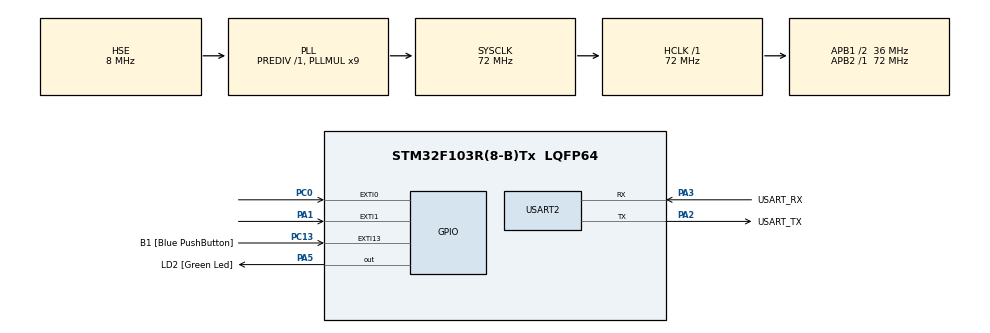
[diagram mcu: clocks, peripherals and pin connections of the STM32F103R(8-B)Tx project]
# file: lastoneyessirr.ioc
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Mcu.Family=STM32F1
Mcu.Name=STM32F103R(8-B)Tx
Mcu.Package=LQFP64
NVIC.EXTI0_IRQn=true\:0\:0\:false\:false\:true\:true\:true\:true
NVIC.EXTI15_10_IRQn=true\:0\:0\:false\:false\:true\:true\:true\:true
NVIC.EXTI1_IRQn=true\:0\:0\:false\:false\:true\:true\:true\:true
NVIC.PriorityGroup=NVIC_PRIORITYGROUP_4
PA1.Signal=GPXTI1
PA13.GPIO_Label=TMS
PA13.Mode=Serial_Wire
PA13.Signal=SYS_JTMS-SWDIO
PA14.GPIO_Label=TCK
PA14.Mode=Serial_Wire
PA14.Signal=SYS_JTCK-SWCLK
PA2.GPIO_Label=USART_TX
PA2.GPIO_Mode=GPIO_MODE_AF_PP
PA2.GPIO_PuPd=GPIO_NOPULL
PA2.GPIO_Speed=GPIO_SPEED_FREQ_LOW
PA2.Mode=Asynchronous
PA2.Signal=USART2_TX
PA3.GPIO_Label=USART_RX
PA3.GPIO_Mode=GPIO_MODE_AF_PP
PA3.GPIO_PuPd=GPIO_NOPULL
PA3.GPIO_Speed=GPIO_SPEED_FREQ_LOW
PA3.Mode=Asynchronous
PA3.Signal=USART2_RX
PA5.GPIO_Label=LD2 [Green Led]
PA5.GPIO_ModeDefaultOutputPP=GPIO_MODE_OUTPUT_PP
PA5.GPIO_PuPd=GPIO_NOPULL
PA5.GPIO_Speed=GPIO_SPEED_FREQ_LOW
PA5.Signal=GPIO_Output
PB3.GPIO_Label=SWO
PB3.Signal=SYS_JTDO-TRACESWO
PC0.Signal=GPXTI0
PC13-TAMPER-RTC.GPIO_Label=B1 [Blue PushButton]
PC13-TAMPER-RTC.GPIO_PuPd=GPIO_NOPULL
PC13-TAMPER-RTC.Signal=GPXTI13
PC14-OSC32_IN.Mode=LSE-External-Oscillator
PC14-OSC32_IN.Signal=RCC_OSC32_IN
PC15-OSC32_OUT.Mode=LSE-External-Oscillator
PC15-OSC32_OUT.Signal=RCC_OSC32_OUT
PD0-OSC_IN.Mode=HSE-External-Oscillator
PD0-OSC_IN.Signal=RCC_OSC_IN
PD1-OSC_OUT.Mode=HSE-External-Oscillator
PD1-OSC_OUT.Signal=RCC_OSC_OUT
ProjectManager.HeapSize=0x200
ProjectManager.StackSize=0x400
ProjectManager.TargetToolchain=STM32CubeIDE
RCC.AHBFreq_Value=72000000
RCC.APB1CLKDivider=RCC_HCLK_DIV2
RCC.APB1Freq_Value=36000000
RCC.APB1TimFreq_Value=72000000
RCC.APB2Freq_Value=72000000
RCC.APB2TimFreq_Value=72000000
RCC.HCLKFreq_Value=72000000
RCC.PLLMUL=RCC_PLL_MUL9
RCC.PLLSourceVirtual=RCC_PLLSOURCE_HSE
RCC.RTCClockSelection=RCC_RTCCLKSOURCE_LSE
RCC.SYSCLKFreq_VALUE=72000000
RCC.SYSCLKSource=RCC_SYSCLKSOURCE_PLLCLK
RCC.USBFreq_Value=72000000
TIM3.Prescaler=7200
TIM4.Prescaler=7200
USART2.VirtualMode=VM_ASYNC
VP_TIM3_VS_ClockSourceINT.Mode=Internal
VP_TIM4_VS_ClockSourceINT.Mode=Internal
board=NUCLEO-F103RB

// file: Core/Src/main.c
/* USER CODE BEGIN Header */
/**
  ******************************************************************************
  * @file           : main.c
  * @brief          : Main program body
  ******************************************************************************
  * @attention
  *
  * Copyright (c) 2025 STMicroelectronics.
  * All rights reserved.
  *
  * This software is licensed under terms that can be found in the LICENSE file
  * in the root directory of this software component.
  * If no LICENSE file comes with this software, it is provided AS-IS.
  *
  ******************************************************************************
  */
/* USER CODE END Header */
#include "main.h"

/* USER CODE BEGIN Includes */
#include <stdlib.h>
#include <stdio.h>
#include <string.h>
#include <math.h>
#include "lcd.h"
/* USER CODE END Includes */

TIM_HandleTypeDef htim3;
TIM_HandleTypeDef htim4;

UART_HandleTypeDef huart2;

/* USER CODE BEGIN PV */
volatile uint8_t flag1=0;
volatile uint8_t flag2=0;
volatile uint16_t count1=0;
volatile uint16_t count2=0;
volatile uint8_t ButtonPressed1 = 0;
volatile uint8_t ButtonPressed2 = 0;
volatile uint16_t timp1 = 0;
volatile uint16_t timp2 = 0;

uint8_t custom_char2[] = { 0x1F, 0x1F, 0x1F, 0x1F, 0x1F, 0x1F, 0x1F, 0x1F }; // caracter 2

/* USER CODE END PV */

void SystemClock_Config(void);
static void MX_GPIO_Init(void);
static void MX_USART2_UART_Init(void);
static void MX_TIM3_Init(void);
static void MX_TIM4_Init(void);
/* USER CODE BEGIN PFP */
void SendToSerial(char* message);
/* USER CODE END PFP */

int main(void)
{

  /* USER CODE BEGIN 1 */
	char s[30];
	uint8_t p1r, p2r;
	float scor1;
	float scor2;
  /* USER CODE END 1 */

  /* MCU Configuration--------------------------------------------------------*/

  /* Reset of all peripherals, Initializes the Flash interface and the Systick. */
  HAL_Init();

  /* Configure the system clock */
  SystemClock_Config();

  /* Initialize all configured peripherals */
  MX_GPIO_Init();
  MX_USART2_UART_Init();
  MX_TIM3_Init();
  MX_TIM4_Init();
  HAL_TIM_Base_Start(&htim3);
  HAL_TIM_Base_Start(&htim4);
  /* USER CODE BEGIN 2 */
  LCD16X2_Init(LCD16X2_DISPLAY_ON_CURSOR_OFF_BLINK_OFF);
  LCD16X2_GotoXY(0, 0);
  LCD16X2_CreateCustomChar(0, custom_char2);
  /* USER CODE END 2 */

  /* Infinite loop */
  /* USER CODE BEGIN WHILE */
  while (1)
  {
	  if(flag1==0 && flag2==0)
	  	{
	  			ButtonPressed1=0;
	  			ButtonPressed2=0;
	  				//Alegere timp random player 1
	  			p1r=rand()%5;
	  			while(p1r==0)
	  			{
	  				p1r=rand()%5; //

	  			}
	  				//Alegere timp random player 2
	  			p2r=rand()%5;
	  			while(p2r==0)
	  			{
	  				p2r=rand()%5;
	  			}

	  			while(flag1==0 && flag2==0)
	  			{
	  						//partitionare ecran in doua
	  					LCD16X2_GotoXY(0, 0);
	  					LCD16X2_PutCustomChar(7, 0, 0);
	  					LCD16X2_PutCustomChar(8, 0, 0);
	  					LCD16X2_PutCustomChar(7, 1, 0);
	  					LCD16X2_PutCustomChar(8, 1, 0);

	  					  //Scriere nume jucatori.
	  					LCD16X2_GotoXY(0, 0);
	  					LCD16X2_Puts("Player1");
	  					  //Afisare timp intre cele doua apasari
	  					LCD16X2_GotoXY(3, 1);
	  					sprintf(s, "%ds",p1r);
	  					LCD16X2_Puts(s);

	  					LCD16X2_GotoXY(9, 0);
	  					LCD16X2_Puts("Player2");

	  					LCD16X2_GotoXY(12, 1);
	  					sprintf(s, "%ds",p2r);
	  					LCD16X2_Puts(s);

	  					HAL_Delay(1000);
	  			}
	  	}

	  		if(flag1==1 && flag2==1)
	  		{
	  			LCD16X2_ClrScr();
	  			scor1=fabs(p1r-(float)timp1/10000);
	  			scor2=fabs(p2r-(float)timp2/10000);

	  			sprintf(s, "%.2fs  S1=%.2f\n",(float)timp1/10000,scor1);
	  			LCD16X2_GotoXY(0, 0);
	  			LCD16X2_Puts(s);

	  			sprintf(s, "%.2fs  S2=%.2f\n",(float)timp2/10000,scor2);
	  			LCD16X2_GotoXY(0, 1);
	  			LCD16X2_Puts(s);

	  			HAL_Delay(3000);

	  			if(scor1>scor2)
	  			{
	  				LCD16X2_ClrScr();
	  				LCD16X2_GotoXY(0, 0);
	  				LCD16X2_Puts("Player2 a ");
	  				LCD16X2_GotoXY(0, 1);
	  				LCD16X2_Puts("castigat!!");
	  				HAL_Delay(5000);
	  			}
	  			else
	  			{
	  				LCD16X2_ClrScr();
	  				LCD16X2_GotoXY(0, 0);
	  				LCD16X2_Puts("Player1 a ");
	  				LCD16X2_GotoXY(0, 1);
	  				LCD16X2_Puts("castigat!!");
	  				HAL_Delay(5000);
	  			}

	  			LCD16X2_ClrScr();
	  			flag1=0;
	  			flag2=0;
	  			ButtonPressed1 = 0;
	  			ButtonPressed2 = 0;
	  			timp1=0;
	  			timp2=0;
	  			count1=0;
	  			count2=0;
	  		}
    /* USER CODE END WHILE */

  }
}

void SystemClock_Config(void)
{
  RCC_OscInitTypeDef RCC_OscInitStruct = {0};
  RCC_ClkInitTypeDef RCC_ClkInitStruct = {0};

  /** Initializes the RCC Oscillators according to the specified parameters
  * in the RCC_OscInitTypeDef structure.
  */
  RCC_OscInitStruct.OscillatorType = RCC_OSCILLATORTYPE_HSE;
  RCC_OscInitStruct.HSEState = RCC_HSE_ON;
  RCC_OscInitStruct.HSEPredivValue = RCC_HSE_PREDIV_DIV1;
  RCC_OscInitStruct.HSIState = RCC_HSI_ON;
  RCC_OscInitStruct.PLL.PLLState = RCC_PLL_ON;
  RCC_OscInitStruct.PLL.PLLSource = RCC_PLLSOURCE_HSE;
  RCC_OscInitStruct.PLL.PLLMUL = RCC_PLL_MUL9;
  if (HAL_RCC_OscConfig(&RCC_OscInitStruct) != HAL_OK)
  {
    Error_Handler();
  }

  /** Initializes the CPU, AHB and APB buses clocks
  */
  RCC_ClkInitStruct.ClockType = RCC_CLOCKTYPE_HCLK|RCC_CLOCKTYPE_SYSCLK
                              |RCC_CLOCKTYPE_PCLK1|RCC_CLOCKTYPE_PCLK2;
  RCC_ClkInitStruct.SYSCLKSource = RCC_SYSCLKSOURCE_PLLCLK;
  RCC_ClkInitStruct.AHBCLKDivider = RCC_SYSCLK_DIV1;
  RCC_ClkInitStruct.APB1CLKDivider = RCC_HCLK_DIV2;
  RCC_ClkInitStruct.APB2CLKDivider = RCC_HCLK_DIV1;

  if (HAL_RCC_ClockConfig(&RCC_ClkInitStruct, FLASH_LATENCY_2) != HAL_OK)
  {
    Error_Handler();
  }
}

static void MX_TIM3_Init(void)
{

  TIM_ClockConfigTypeDef sClockSourceConfig = {0};
  TIM_MasterConfigTypeDef sMasterConfig = {0};

  htim3.Instance = TIM3;
  htim3.Init.Prescaler = 7200;
  htim3.Init.CounterMode = TIM_COUNTERMODE_UP;
  htim3.Init.Period = 65535;
  htim3.Init.ClockDivision = TIM_CLOCKDIVISION_DIV1;
  htim3.Init.AutoReloadPreload = TIM_AUTORELOAD_PRELOAD_DISABLE;
  if (HAL_TIM_Base_Init(&htim3) != HAL_OK)
  {
    Error_Handler();
  }
  sClockSourceConfig.ClockSource = TIM_CLOCKSOURCE_INTERNAL;
  if (HAL_TIM_ConfigClockSource(&htim3, &sClockSourceConfig) != HAL_OK)
  {
    Error_Handler();
  }
  sMasterConfig.MasterOutputTrigger = TIM_TRGO_RESET;
  sMasterConfig.MasterSlaveMode = TIM_MASTERSLAVEMODE_DISABLE;
  if (HAL_TIMEx_MasterConfigSynchronization(&htim3, &sMasterConfig) != HAL_OK)
  {
    Error_Handler();
  }

}

static void MX_TIM4_Init(void)
{

  TIM_ClockConfigTypeDef sClockSourceConfig = {0};
  TIM_MasterConfigTypeDef sMasterConfig = {0};

  htim4.Instance = TIM4;
  htim4.Init.Prescaler = 7200;
  htim4.Init.CounterMode = TIM_COUNTERMODE_UP;
  htim4.Init.Period = 65535;
  htim4.Init.ClockDivision = TIM_CLOCKDIVISION_DIV1;
  htim4.Init.AutoReloadPreload = TIM_AUTORELOAD_PRELOAD_DISABLE;
  if (HAL_TIM_Base_Init(&htim4) != HAL_OK)
  {
    Error_Handler();
  }
  sClockSourceConfig.ClockSource = TIM_CLOCKSOURCE_INTERNAL;
  if (HAL_TIM_ConfigClockSource(&htim4, &sClockSourceConfig) != HAL_OK)
  {
    Error_Handler();
  }
  sMasterConfig.MasterOutputTrigger = TIM_TRGO_RESET;
  sMasterConfig.MasterSlaveMode = TIM_MASTERSLAVEMODE_DISABLE;
  if (HAL_TIMEx_MasterConfigSynchronization(&htim4, &sMasterConfig) != HAL_OK)
  {
    Error_Handler();
  }

}

static void MX_USART2_UART_Init(void)
{

  huart2.Instance = USART2;
  huart2.Init.BaudRate = 115200;
  huart2.Init.WordLength = UART_WORDLENGTH_8B;
  huart2.Init.StopBits = UART_STOPBITS_1;
  huart2.Init.Parity = UART_PARITY_NONE;
  huart2.Init.Mode = UART_MODE_TX_RX;
  huart2.Init.HwFlowCtl = UART_HWCONTROL_NONE;
  huart2.Init.OverSampling = UART_OVERSAMPLING_16;
  if (HAL_UART_Init(&huart2) != HAL_OK)
  {
    Error_Handler();
  }

}

static void MX_GPIO_Init(void)
{
  GPIO_InitTypeDef GPIO_InitStruct = {0};

  /* GPIO Ports Clock Enable */
  __HAL_RCC_GPIOC_CLK_ENABLE();
  __HAL_RCC_GPIOD_CLK_ENABLE();
  __HAL_RCC_GPIOA_CLK_ENABLE();
  __HAL_RCC_GPIOB_CLK_ENABLE();

  /*Configure GPIO pin Output Level */
  HAL_GPIO_WritePin(LD2_GPIO_Port, LD2_Pin, GPIO_PIN_RESET);

  /*Configure GPIO pins : B1_Pin PC0 */
  GPIO_InitStruct.Pin = B1_Pin|GPIO_PIN_0;
  GPIO_InitStruct.Mode = GPIO_MODE_IT_RISING;
  GPIO_InitStruct.Pull = GPIO_NOPULL;
  HAL_GPIO_Init(GPIOC, &GPIO_InitStruct);

  /*Configure GPIO pin : PA1 */
  GPIO_InitStruct.Pin = GPIO_PIN_1;
  GPIO_InitStruct.Mode = GPIO_MODE_IT_RISING;
  GPIO_InitStruct.Pull = GPIO_NOPULL;
  HAL_GPIO_Init(GPIOA, &GPIO_InitStruct);

  /*Configure GPIO pin : LD2_Pin */
  GPIO_InitStruct.Pin = LD2_Pin;
  GPIO_InitStruct.Mode = GPIO_MODE_OUTPUT_PP;
  GPIO_InitStruct.Pull = GPIO_NOPULL;
  GPIO_InitStruct.Speed = GPIO_SPEED_FREQ_LOW;
  HAL_GPIO_Init(LD2_GPIO_Port, &GPIO_InitStruct);

  /* EXTI interrupt init*/
  HAL_NVIC_SetPriority(EXTI0_IRQn, 0, 0);
  HAL_NVIC_EnableIRQ(EXTI0_IRQn);

  HAL_NVIC_SetPriority(EXTI1_IRQn, 0, 0);
  HAL_NVIC_EnableIRQ(EXTI1_IRQn);

  HAL_NVIC_SetPriority(EXTI15_10_IRQn, 0, 0);
  HAL_NVIC_EnableIRQ(EXTI15_10_IRQn);

}

/* USER CODE BEGIN 4 */
/**
  * @brief  EXTI callback
  * @param  GPIO_Pin: Specifies the pin connected to EXTI line
  * @retval None
  */
void HAL_GPIO_EXTI_Callback(uint16_t GPIO_Pin)
{
  SendToSerial("am intrat in nvic callback!\r\n");
  char str[32];
  sprintf(str, "GPIO_Pin:%d\r\n",GPIO_Pin);
  SendToSerial(str);
  sprintf(str, "GPIO_Pin_0:%d\r\n",GPIO_PIN_0);
  SendToSerial(str);
  sprintf(str, "GPIO_Pin_1:%d\r\n",GPIO_PIN_1);
  SendToSerial(str);
  if(GPIO_Pin == GPIO_PIN_0) // Player 2 button (PC0)
  {
    /* Debouncing delay */
	SendToSerial("PC0 interrupt!\r\n");
    //HAL_Delay(30); // ? nu trece de HAL_Delay()???
	for(int i=0;i<30000;i++)			// debouncing pt. buton
	    __NOP();
    if(HAL_GPIO_ReadPin(GPIOC, GPIO_PIN_0) == GPIO_PIN_SET)
    {
    	SendToSerial("Pressed!\r\n");
      if(ButtonPressed2 == 0)
      {
        ButtonPressed2 = 1;
        __HAL_TIM_SET_COUNTER(&htim4, 0); // Reset counter
      }
      else
      {
        ButtonPressed2 = 0;
        flag2 = 1;
        timp2 = __HAL_TIM_GET_COUNTER(&htim4); // Get counter value
      }
    }
  }
  else if(GPIO_Pin == GPIO_PIN_1) // Player 1 button (PA1)
  {
    /* Debouncing delay */
	SendToSerial("PA1 interrupt!\r\n");
    //HAL_Delay(30);
	for(int i=0;i<30000;i++)			// debouncing pt. buton
	    __NOP();
    if(HAL_GPIO_ReadPin(GPIOA, GPIO_PIN_1) == GPIO_PIN_SET)
    {
    	SendToSerial("Pressed!\r\n");
      if(ButtonPressed1 == 0)
      {
//    	HAL_TIM_Base_Start(&htim3);
        ButtonPressed1 = 1;
        __HAL_TIM_SET_COUNTER(&htim3, 0); // Reset counter
      }
      else
      {
        ButtonPressed1 = 0;
        flag1 = 1;
        timp1 = __HAL_TIM_GET_COUNTER(&htim3); // Get counter value
      }
    }
  }
}

void SendToSerial(char* message)
  {
    HAL_UART_Transmit(&huart2, (uint8_t*)message, strlen(message), 100);
  }
/* USER CODE END 4 */

void Error_Handler(void)
{
  __disable_irq();
  while (1)
  {
  }
}
